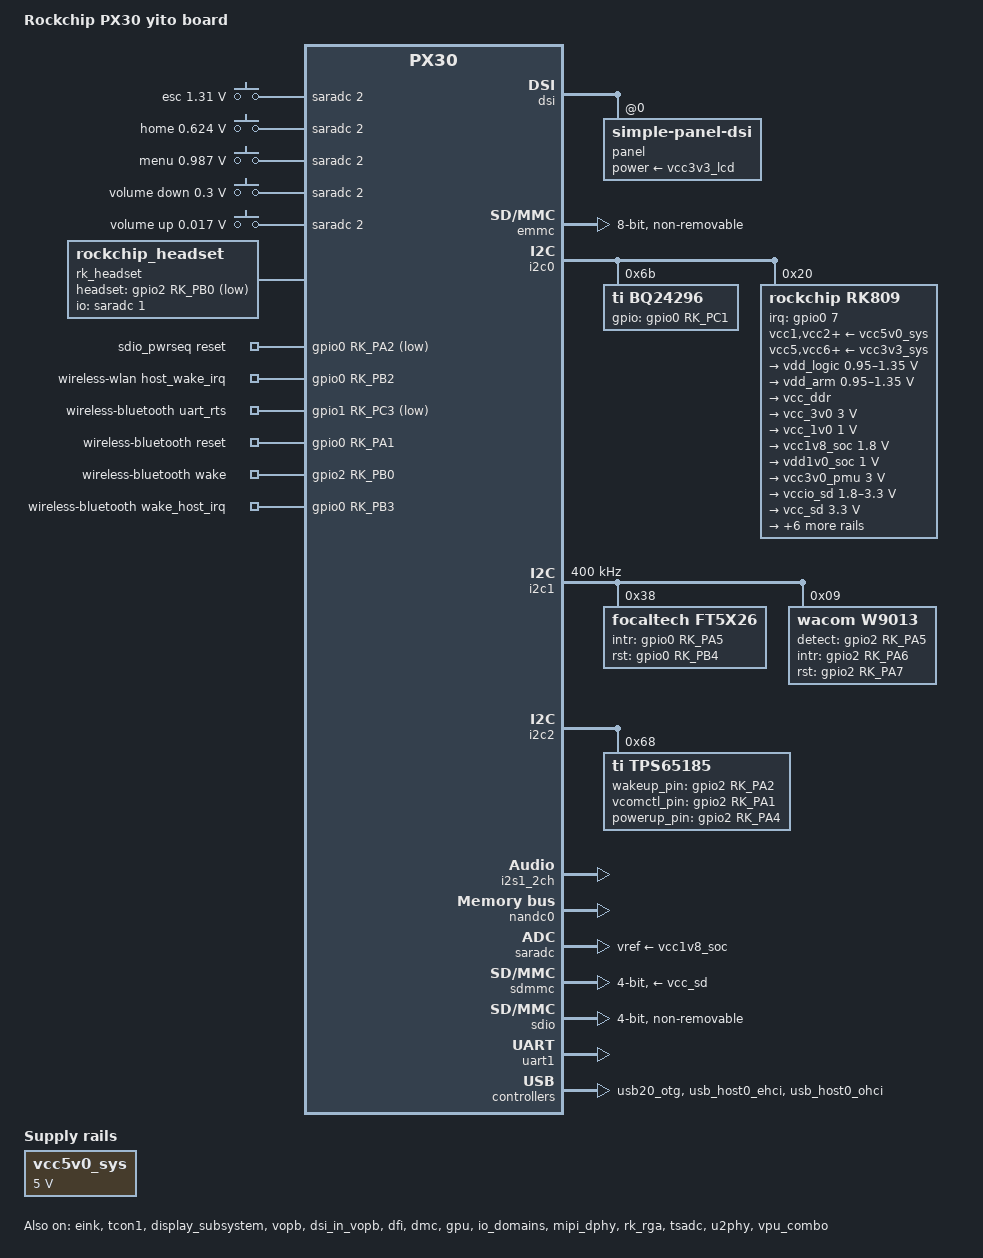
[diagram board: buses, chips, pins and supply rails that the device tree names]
/*
 * Copyright (c) 2017 Fuzhou Rockchip Electronics Co., Ltd
 *
 * SPDX-License-Identifier: (GPL-2.0+ OR MIT)
 */

/dts-v1/;
#include <dt-bindings/gpio/gpio.h>
#include <dt-bindings/pinctrl/rockchip.h>
#include <dt-bindings/input/input.h>
#include <dt-bindings/display/drm_mipi_dsi.h>
#include <dt-bindings/sensor-dev.h>
#include "px30.dtsi"
#include "px30-android.dtsi"
#include "px30-eink.dtsi"

/ {
	model = "Rockchip PX30 yito board";
	compatible = "rockchip,px30-yito-eink", "rockchip,px30";

	adc-keys {
		compatible = "adc-keys";
		io-channels = <&saradc 2>;
		io-channel-names = "buttons";
		poll-interval = <100>;
		keyup-threshold-microvolt = <1800000>;

		esc-key {
			linux,code = <KEY_ESC>;
			label = "esc";
			press-threshold-microvolt = <1310000>;
		};

		home-key {
			linux,code = <KEY_HOME>;
			label = "home";
			press-threshold-microvolt = <624000>;
		};

		menu-key {
			linux,code = <KEY_MENU>;
			label = "menu";
			press-threshold-microvolt = <987000>;
		};

		vol-down-key {
			linux,code = <KEY_VOLUMEDOWN>;
			label = "volume down";
			press-threshold-microvolt = <300000>;
		};

		vol-up-key {
			linux,code = <KEY_VOLUMEUP>;
			label = "volume up";
			press-threshold-microvolt = <17000>;
		};
	};

	rk809-sound {
		compatible = "simple-audio-card";
		simple-audio-card,format = "i2s";
		simple-audio-card,name = "rockchip,rk809-codec";
		simple-audio-card,mclk-fs = <256>;
		simple-audio-card,widgets =
			"Microphone", "Mic Jack",
			"Headphone", "Headphone Jack";
		simple-audio-card,routing =
			"Mic Jack", "MICBIAS1",
			"IN1P", "Mic Jack",
			"Headphone Jack", "HPOL",
			"Headphone Jack", "HPOR";
		simple-audio-card,cpu {
			sound-dai = <&i2s1_2ch>;
		};
		simple-audio-card,codec {
			sound-dai = <&rk809_codec>;
		};
	};

	rk_headset {
		compatible = "rockchip_headset";
		headset_gpio = <&gpio2 RK_PB0 GPIO_ACTIVE_LOW>;
		pinctrl-names = "default";
		pinctrl-0 = <&hp_det>;
		io-channels = <&saradc 1>;
	};

	sdio_pwrseq: sdio-pwrseq {
		compatible = "mmc-pwrseq-simple";
		/*clocks = <&rk809 1>;*/
		/*clock-names = "ext_clock";*/
		pinctrl-names = "default";
		pinctrl-0 = <&wifi_enable_h>;

		/*
		 * On the module itself this is one of these (depending
		 * on the actual card populated):
		 * - SDIO_RESET_L_WL_REG_ON
		 * - PDN (power down when low)
		 */
		reset-gpios = <&gpio0 RK_PA2 GPIO_ACTIVE_LOW>; /* GPIO3_A4 */
	};

	vcc5v0_sys: vccsys {
		compatible = "regulator-fixed";
		regulator-name = "vcc5v0_sys";
		regulator-always-on;
		regulator-boot-on;
		regulator-min-microvolt = <5000000>;
		regulator-max-microvolt = <5000000>;
	};

	wireless-wlan {
		compatible = "wlan-platdata";
		wifi_chip_type = "AP6210";
		WIFI,host_wake_irq = <&gpio0 RK_PB2 GPIO_ACTIVE_HIGH>;
		status = "okay";
	};

	wireless-bluetooth {
		compatible = "bluetooth-platdata";
		clocks = <&rk809 1>;
		clock-names = "ext_clock";
		uart_rts_gpios = <&gpio1 RK_PC3 GPIO_ACTIVE_LOW>;
		pinctrl-names = "default","rts_gpio";
		pinctrl-0 = <&uart1_rts>;
		pinctrl-1 = <&uart1_rts_gpio>;
		BT,reset_gpio = <&gpio0 RK_PA1 GPIO_ACTIVE_HIGH>;
		BT,wake_gpio = <&gpio2 RK_PB0 GPIO_ACTIVE_HIGH>;
		BT,wake_host_irq = <&gpio0 RK_PB3 GPIO_ACTIVE_HIGH>;
		status = "okay";
	};
};

&eink {
	status = "okay";
	tcon = <&tcon1>;

	/* ES103TC1 */
	/*panel,width = <1872>;
	panel,height = <1404>;
	panel,vir_width = <1872>;
	panel,vir_height = <1404>;
	panel,sdck = <33300000>;
	panel,pixels-per-sdck = <8>;
	panel,lsl = <11>;
	panel,lbl = <8>;
	panel,ldl = <234>;
	panel,lel = <23>;
	panel,gdck-sta = <10>;
	panel,lgonl = <215>;
	panel,fsl = <1>;
	panel,fbl = <4>;
	panel,fdl = <1404>;
	panel,fel = <12>;
	panel,vcom-mv = <1560>;*/

	/* ED097TC2U1 */
	panel,width = <1200>;
	panel,height = <825>;
	panel,vir_width = <1200>;
	panel,vir_height = <825>;
	panel,sdck = <25000000>;
	panel,pixels-per-sdck = <4>;
	panel,lsl = <4>;
	panel,lbl = <4>;
	panel,ldl = <300>;
	panel,lel = <36>;
	panel,gdck-sta = <18>;
	panel,lgonl = <265>;
	panel,fsl = <2>;
	panel,fbl = <4>;
	panel,fdl = <825>;
	panel,fel = <24>;
	panel,vcom-mv = <1930>;
	panel,mirror = <0>;
};

&tcon1 {
	status = "okay";
};

&display_subsystem {
	force-disconnected;
	status = "okay";
};

&vopb {
	status = "okay";
};

&vopb_mmu {
	status = "okay";
};

&vopl {
	status = "disabled";
};

&vopl_mmu {
	status = "disabled";
};

&dsi {
	status = "okay";

	panel@0 {
		compatible = "simple-panel-dsi";
		reg = <0>;
		power-supply = <&vcc3v3_lcd>;
		prepare-delay-ms = <2>;
		reset-delay-ms = <1>;
		init-delay-ms = <20>;
		enable-delay-ms = <120>;
		disable-delay-ms = <50>;
		unprepare-delay-ms = <20>;

		width-mm = <68>;
		height-mm = <121>;

		dsi,flags = <(MIPI_DSI_MODE_VIDEO | MIPI_DSI_MODE_VIDEO_BURST |
			      MIPI_DSI_MODE_LPM | MIPI_DSI_MODE_EOT_PACKET)>;
		dsi,format = <MIPI_DSI_FMT_RGB888>;
		dsi,lanes = <4>;

		display-timings {
			native-mode = <&timing0>;

			timing0: timing0 {
				clock-frequency = <64000000>;
				hactive = <720>;
				vactive = <1280>;
				hfront-porch = <40>;
				hsync-len = <10>;
				hback-porch = <40>;
				vfront-porch = <22>;
				vsync-len = <4>;
				vback-porch = <11>;
				hsync-active = <0>;
				vsync-active = <0>;
				de-active = <0>;
				pixelclk-active = <0>;
			};
		};
	};
};

&dsi_in_vopl {
	status = "disabled";
};

&dsi_in_vopb {
        status = "okay";
};

&route_dsi {
	status = "disabled";
};

&bus_apll {
	bus-supply = <&vdd_logic>;
	status = "okay";
};

&cpu0 {
	cpu-supply = <&vdd_arm>;
};

&dfi {
	status = "okay";
};

&dmc {
	center-supply = <&vdd_logic>;
	status = "okay";
};

&emmc {
	bus-width = <8>;
	cap-mmc-highspeed;
	mmc-hs200-1_8v;
	supports-emmc;
	disable-wp;
	non-removable;
	num-slots = <1>;
	status = "okay";
};

&gpu {
	mali-supply = <&vdd_logic>;
	status = "okay";
};

&i2c0 {
	status = "okay";

	bq24296: bq24296@6b {
		compatible = "ti,bq24296";
		reg = <0x6b>;
		gpios = <&gpio0 RK_PC1 0>;   //gpio0_c1
		bq24296,chg_current = <1000 2000 3000>;
		status = "okay";
	};

	rk809: pmic@20 {
		compatible = "rockchip,rk809";
		reg = <0x20>;
		interrupt-parent = <&gpio0>;
		interrupts = <7 IRQ_TYPE_LEVEL_LOW>;
		pinctrl-names = "default", "pmic-sleep";
		//		"pmic-power-off", "pmic-reset";
		pinctrl-0 = <&pmic_int>;
		pinctrl-1 = <&soc_slppin_slp>, <&rk817_slppin_slp>;
		//pinctrl-2 = <&soc_slppin_gpio>, <&rk817_slppin_pwrdn>;
		//pinctrl-3 = <&soc_slppin_rst>, <&rk817_slppin_rst>;
		rockchip,system-power-controller;
		wakeup-source;
		#clock-cells = <1>;
		clock-output-names = "rk808-clkout1", "rk808-clkout2";
		//fb-inner-reg-idxs = <2>;
		/* 1: rst regs (default in codes), 0: rst the pmic */
		pmic-reset-func = <1>;

		vcc1-supply = <&vcc5v0_sys>;
		vcc2-supply = <&vcc5v0_sys>;
		vcc3-supply = <&vcc5v0_sys>;
		vcc4-supply = <&vcc5v0_sys>;
		vcc5-supply = <&vcc3v3_sys>;
		vcc6-supply = <&vcc3v3_sys>;
		vcc7-supply = <&vcc3v3_sys>;
		vcc8-supply = <&vcc3v3_sys>;
		vcc9-supply = <&vcc5v0_sys>;

		pwrkey {
			status = "okay";
		};

		pinctrl_rk8xx: pinctrl_rk8xx {
			gpio-controller;
			#gpio-cells = <2>;

			rk817_slppin_null: rk817_slppin_null {
				pins = "gpio_slp";
				function = "pin_fun0";
			};

			rk817_slppin_slp: rk817_slppin_slp {
				pins = "gpio_slp";
				function = "pin_fun1";
			};

			rk817_slppin_pwrdn: rk817_slppin_pwrdn {
				pins = "gpio_slp";
				function = "pin_fun2";
			};

			rk817_slppin_rst: rk817_slppin_rst {
				pins = "gpio_slp";
				function = "pin_fun3";
			};
		};

		regulators {
			vdd_logic: DCDC_REG1 {
				regulator-always-on;
				regulator-boot-on;
				regulator-min-microvolt = <950000>;
				regulator-max-microvolt = <1350000>;
				regulator-ramp-delay = <6001>;
				regulator-initial-mode = <0x2>;
				regulator-name = "vdd_logic";
				regulator-state-mem {
					regulator-on-in-suspend;
					regulator-suspend-microvolt = <950000>;
				};
			};

			vdd_arm: DCDC_REG2 {
				regulator-always-on;
				regulator-boot-on;
				regulator-min-microvolt = <950000>;
				regulator-max-microvolt = <1350000>;
				regulator-ramp-delay = <6001>;
				regulator-initial-mode = <0x2>;
				regulator-name = "vdd_arm";
				regulator-state-mem {
					regulator-off-in-suspend;
					regulator-suspend-microvolt = <950000>;
				};
			};

			vcc_ddr: DCDC_REG3 {
				regulator-always-on;
				regulator-boot-on;
				regulator-name = "vcc_ddr";
				regulator-initial-mode = <0x2>;
				regulator-state-mem {
					regulator-on-in-suspend;
				};
			};

			vcc_3v0: DCDC_REG4 {
				regulator-always-on;
				regulator-boot-on;
				regulator-min-microvolt = <3000000>;
				regulator-max-microvolt = <3000000>;
				regulator-initial-mode = <0x2>;
				regulator-name = "vcc_3v0";
				regulator-state-mem {
					regulator-on-in-suspend;
					regulator-suspend-microvolt = <3000000>;
				};
			};

			vcc_1v0: LDO_REG1 {
				regulator-always-on;
				regulator-boot-on;
				regulator-min-microvolt = <1000000>;
				regulator-max-microvolt = <1000000>;
				regulator-name = "vcc_1v0";
				regulator-state-mem {
					regulator-on-in-suspend;
					regulator-suspend-microvolt = <1000000>;
				};
			};

			vcc1v8_soc: LDO_REG2 {
				regulator-always-on;
				regulator-boot-on;
				regulator-min-microvolt = <1800000>;
				regulator-max-microvolt = <1800000>;

				regulator-name = "vcc1v8_soc";
				regulator-state-mem {
					regulator-on-in-suspend;
					regulator-suspend-microvolt = <1800000>;
				};
			};

			vdd1v0_soc: LDO_REG3 {
				regulator-always-on;
				regulator-boot-on;
				regulator-min-microvolt = <1000000>;
				regulator-max-microvolt = <1000000>;

				regulator-name = "vcc1v0_soc";
				regulator-state-mem {
					regulator-on-in-suspend;
					regulator-suspend-microvolt = <1000000>;
				};
			};

			vcc3v0_pmu: LDO_REG4 {
				regulator-always-on;
				regulator-boot-on;
				regulator-min-microvolt = <3000000>;
				regulator-max-microvolt = <3000000>;

				regulator-name = "vcc3v0_pmu";
				regulator-state-mem {
					regulator-on-in-suspend;
					regulator-suspend-microvolt = <3000000>;

				};
			};

			vccio_sd: LDO_REG5 {
				regulator-always-on;
				regulator-boot-on;
				regulator-min-microvolt = <1800000>;
				regulator-max-microvolt = <3300000>;

				regulator-name = "vccio_sd";
				regulator-state-mem {
					regulator-on-in-suspend;
					regulator-suspend-microvolt = <3300000>;
				};
			};

			vcc_sd: LDO_REG6 {
				regulator-min-microvolt = <3300000>;
				regulator-max-microvolt = <3300000>;

				regulator-name = "vcc_sd";
				regulator-state-mem {
					regulator-on-in-suspend;
					regulator-suspend-microvolt = <3300000>;

				};
			};

			vcc2v8_dvp: LDO_REG7 {
				regulator-always-on;
				regulator-boot-on;
				regulator-min-microvolt = <2800000>;
				regulator-max-microvolt = <2800000>;

				regulator-name = "vcc2v8_dvp";
				regulator-state-mem {
					regulator-off-in-suspend;
					regulator-suspend-microvolt = <2800000>;
				};
			};

			vcc1v8_dvp: LDO_REG8 {
				regulator-always-on;
				regulator-boot-on;
				regulator-min-microvolt = <1800000>;
				regulator-max-microvolt = <1800000>;

				regulator-name = "vcc1v8_dvp";
				regulator-state-mem {
					regulator-on-in-suspend;
					regulator-suspend-microvolt = <1800000>;
				};
			};

			vdd1v5_dvp: LDO_REG9 {
				regulator-always-on;
				regulator-boot-on;
				regulator-min-microvolt = <1500000>;
				regulator-max-microvolt = <1500000>;

				regulator-name = "vdd1v5_dvp";
				regulator-state-mem {
					regulator-off-in-suspend;
					regulator-suspend-microvolt = <1500000>;
				};
			};

			vcc3v3_sys: DCDC_REG5 {
				regulator-always-on;
				regulator-boot-on;
				regulator-min-microvolt = <3300000>;
				regulator-max-microvolt = <3300000>;
				regulator-name = "vcc3v3_sys";
				regulator-state-mem {
					regulator-on-in-suspend;
					regulator-suspend-microvolt = <3300000>;
				};
			};

			vcc5v0_host: SWITCH_REG1 {
				regulator-name = "vcc5v0_host";
			};

			vcc3v3_lcd: SWITCH_REG2 {
				regulator-boot-on;
				regulator-name = "vcc3v3_lcd";
			};
		};

		rk809_codec: codec {
			#sound-dai-cells = <0>;
			compatible = "rockchip,rk809-codec", "rockchip,rk817-codec";
			clocks = <&cru SCLK_I2S1_OUT>;
			clock-names = "mclk";
			pinctrl-names = "default";
			pinctrl-0 = <&i2s1_2ch_mclk>;
			hp-volume = <20>;
			spk-volume = <3>;
			status = "okay";
		};
	};
};

&i2c1 {
	status = "okay";
	clock-frequency = <400000>;

	ft5x26: ft5x26@38 {
		compatible = "focaltech,ft5x26";
		reg = <0x38>;
		gpio_intr = <&gpio0 RK_PA5 GPIO_ACTIVE_HIGH>;   //gpio0_a5
		gpio_rst = <&gpio0 RK_PB4 GPIO_ACTIVE_HIGH>;    //gpio0_b4		
		//gpio_full_led = <&gpio5 4 GPIO_ACTIVE_LOW>;
	};

	wacom: wacom@09 {
		compatible = "wacom,w9013";
		reg = <0x09>;
		gpio_detect = <&gpio2 RK_PA5 GPIO_ACTIVE_HIGH>;   //gpio2_a5
		gpio_intr = <&gpio2 RK_PA6 GPIO_ACTIVE_HIGH>;    //gpio2_a6
		gpio_rst = <&gpio2 RK_PA7 GPIO_ACTIVE_HIGH>;     //gpio2_a7
	};

	sensor@4c {
		status = "disabled";
		compatible = "gs_mma7660";
		reg = <0x4c>;
		type = <SENSOR_TYPE_ACCEL>;
		irq-gpio = <&gpio0 RK_PB7 IRQ_TYPE_LEVEL_LOW>;
		irq_enable = <0>;
		poll_delay_ms = <30>;
		layout = <2>;
		reprobe_en = <1>;
	};
};

&i2c2 {
	status = "okay";

	tps65185@68 {
		status = "okay";
		compatible = "ti,tps65185";
		reg = <0x68>;
		pinctrl-names = "default";
		pinctrl-0 = <&tps65185_gpio>;
		wakeup_pin = <&gpio2 RK_PA2 GPIO_ACTIVE_HIGH>;
		vcomctl_pin = <&gpio2 RK_PA1 GPIO_ACTIVE_HIGH>;
		powerup_pin = <&gpio2 RK_PA4 GPIO_ACTIVE_HIGH>;
	};
};

&i2s1_2ch {
	status = "okay";
	#sound-dai-cells = <0>;
};

&io_domains {
	status = "okay";

	vccio1-supply = <&vcc1v8_soc>;
	vccio2-supply = <&vccio_sd>;
	vccio3-supply = <&vcc_3v0>;
	vccio4-supply = <&vcc3v0_pmu>;
	vccio5-supply = <&vcc_3v0>;
};

&isp_mmu {
	status = "disabled";
};

&mipi_dphy {
	status = "okay";
};

&nandc0 {
	status = "okay";
};

&pinctrl {
	headphone {
		hp_det: hp-det {
			rockchip,pins = <2 RK_PB0 RK_FUNC_GPIO &pcfg_pull_down>;
		};
	};

	tps_pmic {
                tps65185_gpio: tps65185-gpio {
                        rockchip,pins =
				<2 RK_PA1 RK_FUNC_GPIO &pcfg_pull_up>,
				<2 RK_PA2 RK_FUNC_GPIO &pcfg_pull_up>,
        			<2 RK_PA4 RK_FUNC_GPIO &pcfg_pull_up>;
                };
	};

	pmic {
		pmic_int: pmic_int {
			rockchip,pins =
				<0 RK_PA7 RK_FUNC_GPIO &pcfg_pull_up>;
		};

		soc_slppin_gpio: soc_slppin_gpio {
			rockchip,pins =
				<0 RK_PA4 RK_FUNC_GPIO &pcfg_output_low>;
		};

		soc_slppin_slp: soc_slppin_slp {
			rockchip,pins =
				<0 RK_PA4 RK_FUNC_1 &pcfg_pull_none>;
		};

		soc_slppin_rst: soc_slppin_rst {
			rockchip,pins =
				<0 RK_PA4 RK_FUNC_2 &pcfg_pull_none>;
		};
	};

	sdio-pwrseq {
		wifi_enable_h: wifi-enable-h {
			rockchip,pins = <0 RK_PA2 RK_FUNC_GPIO &pcfg_pull_none>;
		};
	};
};

&pmu_io_domains {
	status = "okay";

	pmuio1-supply = <&vcc3v0_pmu>;
	pmuio2-supply = <&vcc3v0_pmu>;
};

&rk_rga {
	status = "okay";
};

&rockchip_suspend {
	status = "okay";
	rockchip,sleep-debug-en = <1>;
};

&saradc {
	status = "okay";
	vref-supply = <&vcc1v8_soc>;
};

&sdmmc {
	bus-width = <4>;
	cap-mmc-highspeed;
	cap-sd-highspeed;
	supports-sd;
	card-detect-delay = <800>;
	ignore-pm-notify;
	/*cd-gpios = <&gpio2 4 GPIO_ACTIVE_HIGH>; [> CD GPIO <]*/
	sd-uhs-sdr12;
	sd-uhs-sdr25;
	sd-uhs-sdr50;
	sd-uhs-sdr104;
	vqmmc-supply = <&vccio_sd>;
	vmmc-supply = <&vcc_sd>;
	status = "okay";
};

&sdio {
	bus-width = <4>;
	cap-sd-highspeed;
	supports-sdio;
	ignore-pm-notify;
	keep-power-in-suspend;
	non-removable;
	mmc-pwrseq = <&sdio_pwrseq>;
	sd-uhs-sdr104;
	status = "okay";
};

&tsadc {
	pinctrl-names = "init", "default";
	pinctrl-0 = <&tsadc_otp_gpio>;
	pinctrl-1 = <&tsadc_otp_out>;
	status = "okay";
};

&uart1 {
	pinctrl-names = "default";
	pinctrl-0 = <&uart1_xfer &uart1_cts>;
	status = "okay";
};

&u2phy {
	status = "okay";

	u2phy_host: host-port {
		status = "okay";
	};

	u2phy_otg: otg-port {
		status = "okay";
	};
};

&usb20_otg {
	status = "okay";
};

&usb_host0_ehci {
	status = "okay";
};

&usb_host0_ohci {
	status = "okay";
};

&vpu_combo {
	status = "okay";
};

&firmware_android {
	compatible = "android,firmware";
	fstab {
		compatible = "android,fstab";
		system {
			compatible = "android,system";
			dev = "/dev/block/by-name/system";
			type = "ext4";
			mnt_flags = "ro,barrier=1,inode_readahead_blks=8";
			fsmgr_flags = "wait";
		};
		vendor {
			compatible = "android,vendor";
			dev = "/dev/block/by-name/vendor";
			type = "ext4";
			mnt_flags = "ro,barrier=1,inode_readahead_blks=8";
			fsmgr_flags = "wait";
		};
	};
};
